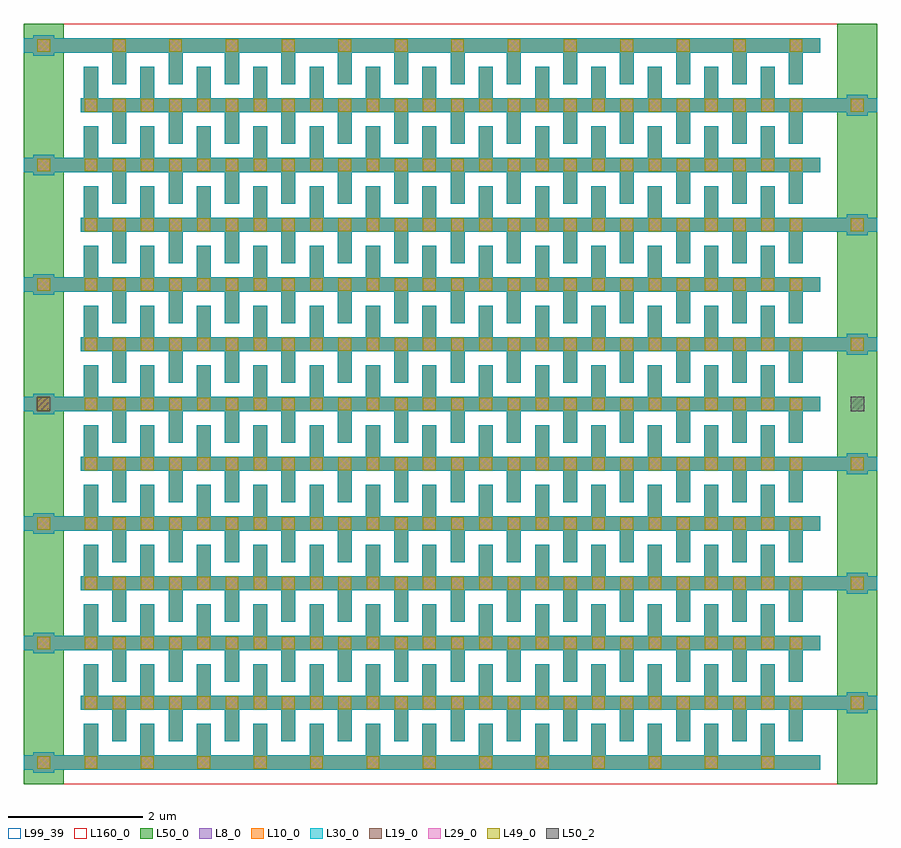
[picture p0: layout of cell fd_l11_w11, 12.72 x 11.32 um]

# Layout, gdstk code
import gdstk
lib = gdstk.Library(unit=1e-6, precision=1e-09)
def R(c, l, rs):  # rectangles x0, y0, x1, y1
    for r in rs: c.add(gdstk.rectangle(r[:2], r[2:], *l))
def A(c, l, x, y, w, h, nx, ny, dx, dy):  # array of equal rectangles
    R(c, l, [(x+i*dx, y+j*dy, x+i*dx+w, y+j*dy+h) for i in range(nx) for j in range(ny)])
L8_0 = (8, 0)
L10_0 = (10, 0)
L19_0 = (19, 0)
L29_0 = (29, 0)
L30_0 = (30, 0)
L49_0 = (49, 0)
L50_0 = (50, 0)
L50_2 = (50, 2)
L99_39 = (99, 39)
L160_0 = (160, 0)

fd_l11_w11 = lib.new_cell('fd_l11_w11')
A(fd_l11_w11, L8_0, -0.755, -0.155, 0.31, 0.31, 1, 7, 0, 1.78)
A(fd_l11_w11, L8_0, -0.9, -0.105, 11.87, 0.21, 1, 7, 0, 1.78)
A(fd_l11_w11, L8_0, 0, 0, 0.21, 0.575, 13, 12, 0.84, 0.89)
A(fd_l11_w11, L8_0, 0.42, 0.315, 0.21, 0.575, 13, 12, 0.84, 0.89)
A(fd_l11_w11, L8_0, 11.365, 0.735, 0.31, 0.31, 1, 6, 0, 1.78)
A(fd_l11_w11, L8_0, -0.05, 0.785, 11.87, 0.21, 1, 6, 0, 1.78)
A(fd_l11_w11, L10_0, -0.755, -0.155, 0.31, 0.31, 1, 7, 0, 1.78)
A(fd_l11_w11, L10_0, -0.9, -0.105, 11.87, 0.21, 1, 7, 0, 1.78)
A(fd_l11_w11, L10_0, 0, 0, 0.21, 0.575, 13, 12, 0.84, 0.89)
A(fd_l11_w11, L10_0, 0.42, 0.315, 0.21, 0.575, 13, 12, 0.84, 0.89)
A(fd_l11_w11, L10_0, 11.365, 0.735, 0.31, 0.31, 1, 6, 0, 1.78)
A(fd_l11_w11, L10_0, -0.05, 0.785, 11.87, 0.21, 1, 6, 0, 1.78)
A(fd_l11_w11, L19_0, -0.695, -0.095, 0.19, 0.19, 1, 7, 0, 1.78)
A(fd_l11_w11, L19_0, 0.01, -0.095, 0.19, 0.19, 13, 1, 0.84, 0)
A(fd_l11_w11, L19_0, 0.01, 0.795, 0.19, 0.19, 26, 11, 0.42, 0.89)
A(fd_l11_w11, L19_0, 11.425, 0.795, 0.19, 0.19, 1, 6, 0, 1.78)
A(fd_l11_w11, L19_0, 0.43, 10.585, 0.19, 0.19, 13, 1, 0.84, 0)
A(fd_l11_w11, L29_0, -0.695, -0.095, 0.19, 0.19, 1, 7, 0, 1.78)
A(fd_l11_w11, L29_0, 0.01, -0.095, 0.19, 0.19, 13, 1, 0.84, 0)
A(fd_l11_w11, L29_0, 0.01, 0.795, 0.19, 0.19, 26, 11, 0.42, 0.89)
A(fd_l11_w11, L29_0, 11.425, 0.795, 0.19, 0.19, 1, 6, 0, 1.78)
A(fd_l11_w11, L29_0, 0.43, 10.585, 0.19, 0.19, 13, 1, 0.84, 0)
A(fd_l11_w11, L30_0, -0.755, -0.155, 0.31, 0.31, 1, 7, 0, 1.78)
A(fd_l11_w11, L30_0, -0.9, -0.105, 11.87, 0.21, 1, 7, 0, 1.78)
A(fd_l11_w11, L30_0, 0, 0, 0.21, 0.575, 13, 12, 0.84, 0.89)
A(fd_l11_w11, L30_0, 0.42, 0.315, 0.21, 0.575, 13, 12, 0.84, 0.89)
A(fd_l11_w11, L30_0, 11.365, 0.735, 0.31, 0.31, 1, 6, 0, 1.78)
A(fd_l11_w11, L30_0, -0.05, 0.785, 11.87, 0.21, 1, 6, 0, 1.78)
A(fd_l11_w11, L49_0, -0.695, -0.095, 0.19, 0.19, 1, 7, 0, 1.78)
A(fd_l11_w11, L49_0, 0.01, -0.095, 0.19, 0.19, 13, 1, 0.84, 0)
A(fd_l11_w11, L49_0, 0.01, 0.795, 0.19, 0.19, 26, 11, 0.42, 0.89)
A(fd_l11_w11, L49_0, 11.425, 0.795, 0.19, 0.19, 1, 6, 0, 1.78)
A(fd_l11_w11, L49_0, 0.43, 10.585, 0.19, 0.19, 13, 1, 0.84, 0)
A(fd_l11_w11, L50_0, -0.9, -0.105, 11.87, 0.21, 1, 7, 0, 1.78)
A(fd_l11_w11, L50_0, 0, 0, 0.21, 0.575, 13, 12, 0.84, 0.89)
A(fd_l11_w11, L50_0, 0.42, 0.315, 0.21, 0.575, 13, 12, 0.84, 0.89)
A(fd_l11_w11, L50_0, -0.05, 0.785, 11.87, 0.21, 1, 6, 0, 1.78)
R(fd_l11_w11, L50_0, [(-0.9,-0.32,-0.3,11), (11.22,-0.32,11.82,11)])
R(fd_l11_w11, L50_2, [(-0.7,5.235,-0.5,5.445), (11.42,5.235,11.62,5.445)])
R(fd_l11_w11, L99_39, [(-0.9,-0.32,11.82,11)])
R(fd_l11_w11, L160_0, [(-0.9,-0.32,11.82,11)])
fd_l11_w11.add(gdstk.Label('cap_cmomi C=116.528fF', (-0.9,-0.82), layer=63, texttype=0))

lib.write_gds('fd_l11_w11.gds')
